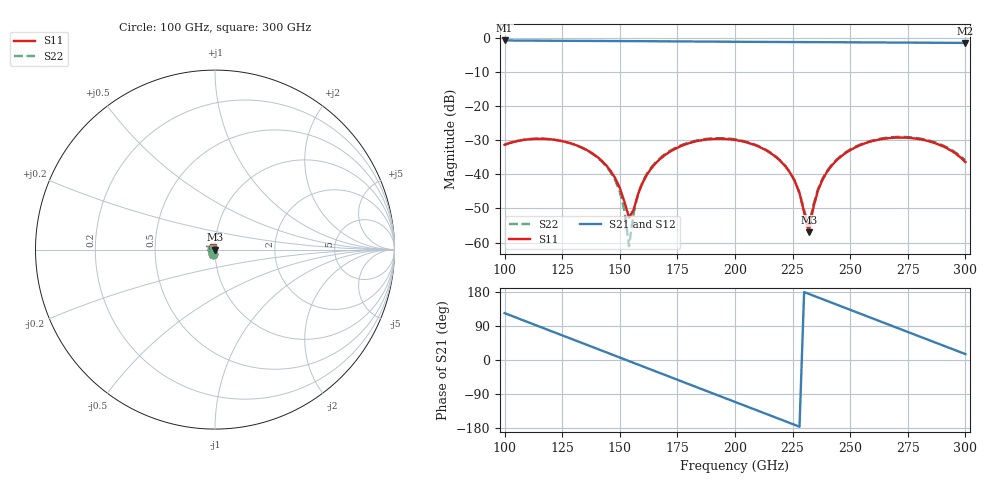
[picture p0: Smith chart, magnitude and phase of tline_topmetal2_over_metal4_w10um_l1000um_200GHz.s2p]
#  GHZ S DB R 50
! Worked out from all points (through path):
!   101 points, 100 GHz to 300 GHz, reference 50 ohm
!   highest |S21| = -0.78 dB at 100 GHz (marker M1); lowest = -1.5 dB at 300 GHz (marker M2)
!   group delay of S21, straight-line fit = 6.5 ps
!   lowest |S11| = -57.0 dB at 232 GHz (marker M3), VSWR 1.00, Z = 49.9 - j0.0493 ohm
!   |S11| at or under -10 dB: start of sweep to end of sweep
!   |S22| runs from -61.1 to -29.0 dB; largest |S21 - S12| = 1.6e-13
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100  -31.34 -115.1  -0.78 123.7  -0.78 123.7  -31.30 -115.0
116  -29.59 -154.8  -0.84 86.2  -0.84 86.2  -29.56 -154.8
134  -32.31 163.2  -0.91 44.0  -0.91 44.0  -32.37 162.1
148  -41.13 139.1  -0.95 11.2  -0.95 11.2  -41.73 132.5
152  -48.03 149.2  -0.97 1.8  -0.97 1.8  -50.51 133.8
154  -52.66 -175.4  -0.97 -2.9  -0.97 -2.9  -61.06 -168.3
156  -50.35 -122.5  -0.98 -7.6  -0.98 -7.6  -51.41 -91.7
158  -45.67 -105.2  -0.99 -12.3  -0.99 -12.3  -45.51 -87.0
168  -35.21 -111.0  -1.02 -35.7  -1.02 -35.7  -34.93 -104.3
184  -30.20 -145.8  -1.09 -73.2  -1.09 -73.2  -29.99 -141.2
200  -29.93 177.3  -1.16 -110.6  -1.16 -110.6  -29.75 -178.4
212  -32.44 150.2  -1.20 -138.6  -1.20 -138.6  -32.28 154.7
222  -37.78 129.7  -1.23 -162.0  -1.23 -162.0  -37.63 135.0
228  -45.52 124.9  -1.25 -176.0  -1.25 -176.0  -45.32 132.2
232  -57.02 -159.5  -1.26 174.6  -1.26 174.6  -55.08 -154.8
234  -49.77 -109.5  -1.27 169.9  -1.27 169.9  -49.05 -109.6
238  -41.55 -102.9  -1.28 160.6  -1.28 160.6  -41.24 -100.9
244  -35.98 -112.2  -1.30 146.5  -1.30 146.5  -35.75 -109.2
256  -31.03 -137.6  -1.34 118.4  -1.34 118.4  -30.83 -133.8
268  -29.33 -164.5  -1.38 90.4  -1.38 90.4  -29.12 -160.1
282  -29.96 163.8  -1.43 57.7  -1.43 57.7  -29.74 169.2
300  -36.39 124.5  -1.49 15.6  -1.49 15.6  -35.99 134.2
